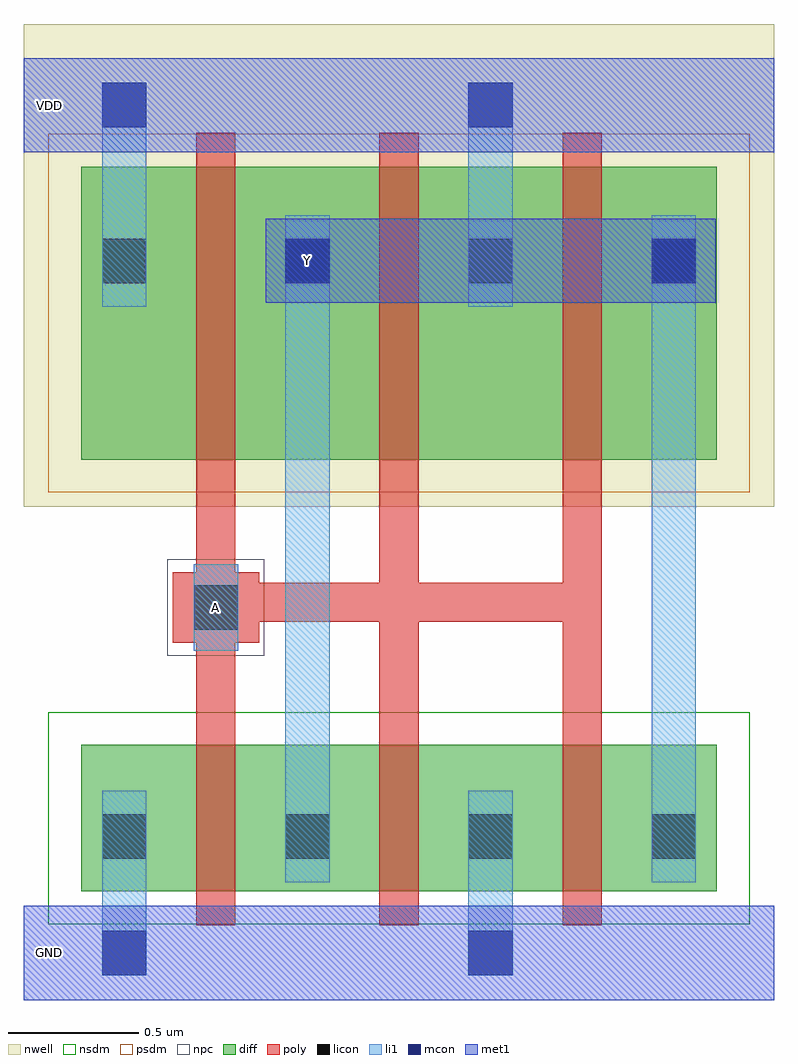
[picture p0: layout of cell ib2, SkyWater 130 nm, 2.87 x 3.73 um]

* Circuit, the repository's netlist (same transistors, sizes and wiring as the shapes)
* NGSPICE file created from ib2.ext - technology: sky130A

.subckt ib2 A Y VDD GND
X0 Y A VDD w_0_341# sky130_fd_pr__pfet_01v8 ad=0.308 pd=1.67 as=0.4928 ps=3.12 w=1.12 l=0.15
X1 GND A Y VSUBS sky130_fd_pr__nfet_01v8 ad=0.154 pd=1.11 as=0.154 ps=1.11 w=0.56 l=0.15
X2 Y A GND VSUBS sky130_fd_pr__nfet_01v8 ad=0.2464 pd=2 as=0.154 ps=1.11 w=0.56 l=0.15
X3 Y A VDD w_0_341# sky130_fd_pr__pfet_01v8 ad=0.4928 pd=3.12 as=0.308 ps=1.67 w=1.12 l=0.15
X4 VDD A Y w_0_341# sky130_fd_pr__pfet_01v8 ad=0.308 pd=1.67 as=0.308 ps=1.67 w=1.12 l=0.15
X5 Y A GND VSUBS sky130_fd_pr__nfet_01v8 ad=0.154 pd=1.11 as=0.2464 ps=2 w=0.56 l=0.15
.ends

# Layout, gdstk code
import gdstk
lib = gdstk.Library(unit=1e-6, precision=1e-09)
def R(c, l, rs):  # rectangles x0, y0, x1, y1
    for r in rs: c.add(gdstk.rectangle(r[:2], r[2:], *l))
def A(c, l, x, y, w, h, nx, ny, dx, dy):  # array of equal rectangles
    R(c, l, [(x+i*dx, y+j*dy, x+i*dx+w, y+j*dy+h) for i in range(nx) for j in range(ny)])
nwell = (64, 20)
diff = (65, 20)
poly = (66, 20)
licon = (66, 44)
li1 = (67, 20)
mcon = (67, 44)
met1 = (68, 20)
nsdm = (93, 44)
psdm = (94, 20)
npc = (95, 20)

ib2 = lib.new_cell('ib2')
R(ib2, nwell, [(0,1.705,2.87,3.55)])
R(ib2, diff, [(0.22,0.235,2.65,0.795), (0.22,1.885,2.65,3.005)])
R(ib2, poly, [(0.66,0.105,0.81,1.185), (1.36,0.105,1.51,1.265), (2.06,0.105,2.21,1.265), (0.57,1.185,0.9,1.265), (0.57,1.265,2.21,1.415), (0.57,1.415,0.9,1.455), (1.36,1.415,1.51,3.135), (2.06,1.415,2.21,3.135), (0.66,1.455,0.81,3.135)])
A(ib2, licon, 0.3, 0.36, 0.17, 0.17, 4, 2, 0.7, 2.2)
R(ib2, licon, [(0.65,1.235,0.82,1.405)])
R(ib2, li1, [(0.3,-0.085,0.47,0.62), (1.7,-0.085,1.87,0.62), (1,0.27,1.17,2.82), (2.4,0.27,2.57,2.82), (0.65,1.155,0.82,1.485), (0.3,2.47,0.47,3.325), (1.7,2.47,1.87,3.325)])
R(ib2, mcon, [(0.3,-0.085,0.47,0.085), (1.7,-0.085,1.87,0.085), (1,2.56,1.17,2.73), (2.4,2.56,2.57,2.73), (0.3,3.155,0.47,3.325), (1.7,3.155,1.87,3.325)])
R(ib2, met1, [(0,-0.18,2.87,0.18), (0.925,2.485,2.645,2.805), (0,3.06,2.87,3.42)])
R(ib2, nsdm, [(0.095,0.11,2.775,0.92)])
R(ib2, psdm, [(0.095,1.76,2.775,3.13)])
R(ib2, npc, [(0.55,1.135,0.92,1.505)])
ib2.add(gdstk.Label('A', (0.735,1.32), layer=67, texttype=5))
ib2.add(gdstk.Label('Y', (1.085,2.645), layer=68, texttype=5))
ib2.add(gdstk.Label('VDD', (0.1,3.24), layer=68, texttype=5))
ib2.add(gdstk.Label('GND', (0.1,0), layer=68, texttype=5))

lib.write_gds('ib2.gds')
